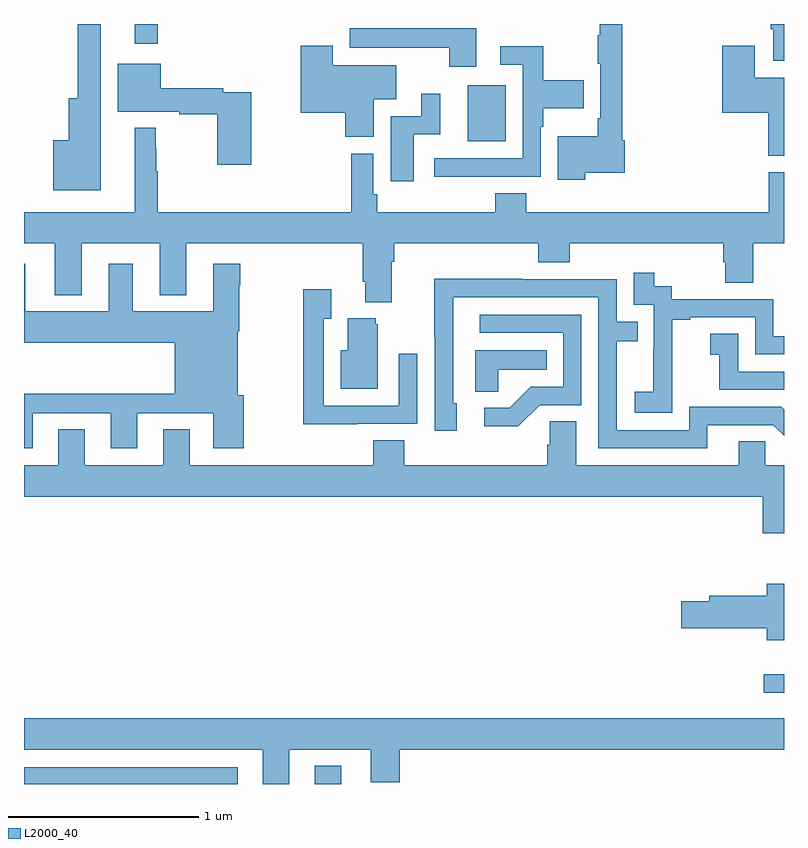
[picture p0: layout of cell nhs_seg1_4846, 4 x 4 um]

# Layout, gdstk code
import gdstk
lib = gdstk.Library(unit=1e-6, precision=1e-09)
def R(c, l, rs):  # rectangles x0, y0, x1, y1
    for r in rs: c.add(gdstk.rectangle(r[:2], r[2:], *l))
def P(c, l, *ps):  # polygons
    for p in ps: c.add(gdstk.Polygon(p, *l))
L2000_40 = (2000, 40)

nhs_seg1_4846 = lib.new_cell('nhs_seg1_4846')
R(nhs_seg1_4846, L2000_40, [(373,570.199,374.124,570.288), (374.531,570.199,374.671,570.295), (376.893,570.68,377,570.777), (375.335,573.581,375.535,573.877), (373.583,574.095,373.705,574.199)])
P(nhs_seg1_4846, L2000_40, [(373.405,574.199),(373.284,574.199),(373.284,573.808),(373.235,573.808),(373.235,573.586),(373.154,573.586),(373.154,573.323),(373.405,573.323)],
  [(377,574.199),(376.931,574.199),(376.931,574.171),(376.943,574.171),(376.943,574.005),(377,574.005)],
  [(375.953,573.416),(376.162,573.416),(376.162,573.587),(376.148,573.587),(376.148,574.199),(376.031,574.199),(376.031,574.139),(376.02,574.139),(376.02,573.991),(376.032,573.991),(376.032,573.703),(376.02,573.703),(376.02,573.607),(375.809,573.607),(375.809,573.38),(375.953,573.38)],
  [(375.379,574.177),(374.715,574.177),(374.715,574.073),(375.239,574.073),(375.239,573.975),(375.379,573.975)],
  [(374.842,573.803),(374.959,573.803),(374.959,573.982),(374.626,573.982),(374.626,574.084),(374.456,574.084),(374.456,573.731),(374.69,573.731),(374.69,573.606),(374.842,573.606)],
  [(377,573.916),(376.846,573.916),(376.846,574.084),(376.676,574.084),(376.676,573.731),(376.916,573.731),(376.916,573.505),(377,573.505)],
  [(375.395,573.396),(375.72,573.396),(375.72,573.659),(375.733,573.659),(375.733,573.755),(375.947,573.755),(375.947,573.903),(375.733,573.903),(375.733,574.081),(375.507,574.081),(375.507,573.984),(375.624,573.984),(375.624,573.492),(375.159,573.492),(375.159,573.395),(375.395,573.395)],
  [(374.195,573.84),(374.048,573.84),(374.048,573.86),(373.72,573.86),(373.72,573.991),(373.493,573.991),(373.493,573.737),(373.816,573.737),(373.816,573.724),(374.017,573.724),(374.017,573.459),(374.195,573.459)],
  [(375.052,573.618),(375.19,573.618),(375.19,573.832),(375.092,573.832),(375.092,573.714),(374.93,573.714),(374.93,573.372),(375.052,573.372)],
  [(373,573.044),(373.163,573.044),(373.163,572.771),(373.303,572.771),(373.303,573.044),(373.715,573.044),(373.715,572.771),(373.855,572.771),(373.855,573.044),(374.783,573.044),(374.783,572.842),(374.795,572.842),(374.795,572.735),(374.935,572.735),(374.935,572.948),(374.948,572.948),(374.948,573.044),(375.707,573.044),(375.707,572.945),(375.872,572.945),(375.872,573.044),(376.679,573.044),(376.679,572.946),(376.691,572.946),(376.691,572.836),(376.839,572.836),(376.839,573.044),(377,573.044),(377,573.42),(376.919,573.42),(376.919,573.208),(375.644,573.208),(375.644,573.307),(375.479,573.307),(375.479,573.208),(374.858,573.208),(374.858,573.304),(374.838,573.304),(374.838,573.517),(374.722,573.517),(374.722,573.208),(373.705,573.208),(373.705,573.425),(373.697,573.425),(373.697,573.545),(373.694,573.545),(373.694,573.652),(373.583,573.652),(373.583,573.208),(373,573.208)],
  [(373.045,572.151),(373.457,572.151),(373.457,571.965),(373.597,571.965),(373.597,572.151),(373.997,572.151),(373.997,571.965),(374.157,571.965),(374.157,572.244),(374.125,572.244),(374.125,572.582),(374.133,572.582),(374.133,572.825),(374.138,572.825),(374.138,572.938),(373.997,572.938),(373.997,572.686),(373.573,572.686),(373.573,572.938),(373.445,572.938),(373.445,572.686),(373.006,572.686),(373.006,572.938),(373,572.938),(373,572.522),(373.793,572.522),(373.793,572.252),(373,572.252),(373,571.965),(373.045,571.965)],
  [(376.413,572.359),(376.412,572.359),(376.412,572.643),(376.507,572.643),(376.507,572.655),(376.848,572.655),(376.848,572.46),(377,572.46),(377,572.556),(376.944,572.556),(376.944,572.751),(376.41,572.751),(376.41,572.82),(376.318,572.82),(376.318,572.89),(376.209,572.89),(376.209,572.721),(376.314,572.721),(376.314,572.492),(376.313,572.492),(376.313,572.263),(376.215,572.263),(376.215,572.153),(376.413,572.153)],
  [(376.597,572.088),(376.944,572.088),(377,572.032),(377,572.17),(376.986,572.184),(376.5,572.184),(376.5,572.061),(376.119,572.061),(376.119,572.53),(376.229,572.53),(376.229,572.631),(376.119,572.631),(376.119,572.856),(375.623,572.856),(375.623,572.858),(375.16,572.858),(375.16,572.551),(375.162,572.551),(375.162,572.058),(375.277,572.058),(375.277,572.202),(375.258,572.202),(375.258,572.76),(376.023,572.76),(376.023,571.965),(376.597,571.965)],
  [(374.753,572.094),(375.069,572.094),(375.069,572.464),(374.973,572.464),(374.973,572.19),(374.577,572.19),(374.577,572.647),(374.617,572.647),(374.617,572.803),(374.469,572.803),(374.469,572.093),(374.753,572.093)],
  [(375.714,572.193),(375.933,572.193),(375.933,572.67),(375.399,572.67),(375.399,572.574),(375.837,572.574),(375.837,572.289),(375.668,572.289),(375.557,572.178),(375.423,572.178),(375.423,572.081),(375.601,572.081)],
  [(374.863,572.619),(374.852,572.619),(374.852,572.65),(374.705,572.65),(374.705,572.482),(374.666,572.482),(374.666,572.279),(374.863,572.279)],
  [(377,572.37),(376.758,572.37),(376.758,572.569),(376.611,572.569),(376.611,572.459),(376.66,572.459),(376.66,572.274),(377,572.274)],
  [(375.495,572.378),(375.752,572.378),(375.752,572.482),(375.374,572.482),(375.374,572.263),(375.495,572.263)],
  [(377,571.876),(376.902,571.876),(376.902,572.003),(376.763,572.003),(376.763,571.876),(375.907,571.876),(375.907,572.108),(375.768,572.108),(375.768,571.985),(375.755,571.985),(375.755,571.876),(375.002,571.876),(375.002,572.009),(374.837,572.009),(374.837,571.876),(373.873,571.876),(373.873,572.066),(373.733,572.066),(373.733,571.876),(373.321,571.876),(373.321,572.066),(373.181,572.066),(373.181,571.876),(373,571.876),(373,571.712),(376.889,571.712),(376.889,571.518),(377,571.518)],
  [(377,571.252),(376.91,571.252),(376.91,571.19),(376.607,571.19),(376.607,571.16),(376.458,571.16),(376.458,571.018),(376.91,571.018),(376.91,570.956),(377,570.956)],
  [(374.395,570.38),(374.825,570.38),(374.825,570.208),(374.978,570.208),(374.978,570.38),(377,570.38),(377,570.544),(373,570.544),(373,570.38),(374.256,570.38),(374.256,570.199),(374.395,570.199)])

lib.write_gds('nhs_seg1_4846.gds')
